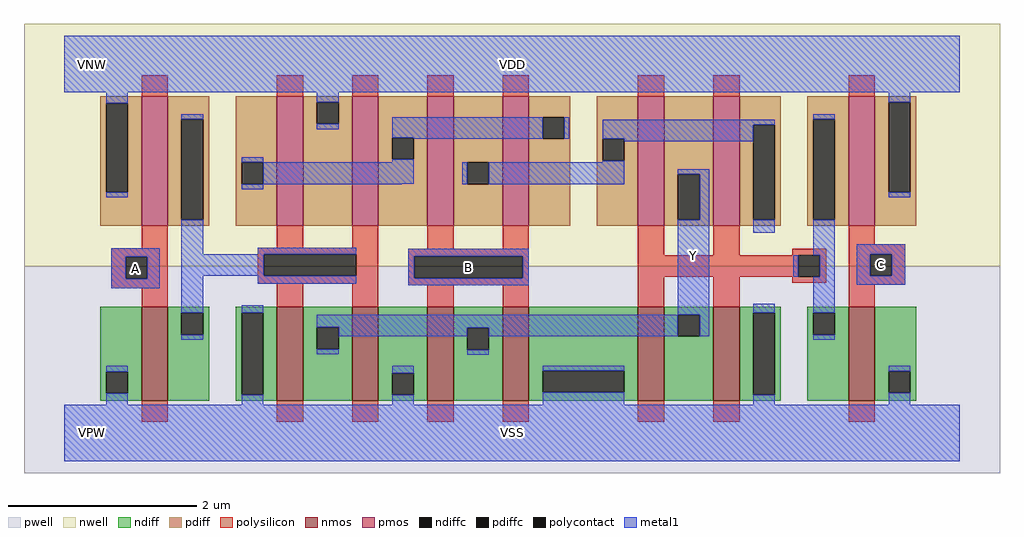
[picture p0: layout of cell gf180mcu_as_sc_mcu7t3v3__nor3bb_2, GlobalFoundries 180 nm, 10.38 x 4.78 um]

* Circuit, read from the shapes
.subckt gf180mcu_as_sc_mcu7t3v3__nor3bb_2 VDD VNW VPW VSS A B C Y
XM1 n1 A VSS VPW nfet_03v3 w=1u l=0.28u
XM2 Y n1 VSS VPW nfet_03v3 w=1u l=0.28u m=2
XM3 Y B VSS VPW nfet_03v3 w=1u l=0.28u m=2
XM4 Y n2 VSS VPW nfet_03v3 w=1u l=0.28u m=2
XM5 VSS C n2 VPW nfet_03v3 w=1u l=0.28u
XM6 n1 A VDD VNW pfet_03v3 w=1.38u l=0.28u
XM7 VDD n1 n3 VNW pfet_03v3 w=1.38u l=0.28u m=2
XM8 n4 B n3 VNW pfet_03v3 w=1.38u l=0.28u m=2
XM9 Y n2 n4 VNW pfet_03v3 w=1.38u l=0.28u m=2
XM10 VDD C n2 VNW pfet_03v3 w=1.38u l=0.28u
.ends

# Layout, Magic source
magic
tech gf180mcuD
magscale 1 10
<< nwell >>
rect -86 354 1990 870
<< pwell >>
rect -86 -86 1990 354
<< nmos >>
rect 164 68 220 268
rect 452 68 508 268
rect 612 68 668 268
rect 772 68 828 268
rect 932 68 988 268
rect 1220 68 1276 268
rect 1380 68 1436 268
rect 1668 68 1724 268
<< pmos >>
rect 164 440 220 716
rect 452 440 508 716
rect 612 440 668 716
rect 772 440 828 716
rect 932 440 988 716
rect 1220 440 1276 716
rect 1380 440 1436 716
rect 1668 440 1724 716
<< ndiff >>
rect 76 130 164 268
rect 76 84 89 130
rect 135 84 164 130
rect 76 68 164 84
rect 220 255 308 268
rect 220 209 249 255
rect 295 209 308 255
rect 220 68 308 209
rect 364 255 452 268
rect 364 81 377 255
rect 423 81 452 255
rect 364 68 452 81
rect 508 224 612 268
rect 508 178 537 224
rect 583 178 612 224
rect 508 68 612 178
rect 668 127 772 268
rect 668 81 697 127
rect 743 81 772 127
rect 668 68 772 81
rect 828 223 932 268
rect 828 177 857 223
rect 903 177 932 223
rect 828 68 932 177
rect 988 132 1220 268
rect 988 86 1017 132
rect 1191 86 1220 132
rect 988 68 1220 86
rect 1276 251 1380 268
rect 1276 205 1305 251
rect 1351 205 1380 251
rect 1276 68 1380 205
rect 1436 255 1524 268
rect 1436 81 1465 255
rect 1511 81 1524 255
rect 1436 68 1524 81
rect 1580 255 1668 268
rect 1580 209 1593 255
rect 1639 209 1668 255
rect 1580 68 1668 209
rect 1724 131 1812 268
rect 1724 85 1753 131
rect 1799 85 1812 131
rect 1724 68 1812 85
<< pdiff >>
rect 76 701 164 716
rect 76 512 89 701
rect 135 512 164 701
rect 76 440 164 512
rect 220 667 308 716
rect 220 453 249 667
rect 295 453 308 667
rect 220 440 308 453
rect 364 575 452 716
rect 364 529 377 575
rect 423 529 452 575
rect 364 440 452 529
rect 508 703 612 716
rect 508 657 537 703
rect 583 657 612 703
rect 508 440 612 657
rect 668 628 772 716
rect 668 582 697 628
rect 743 582 772 628
rect 668 440 772 582
rect 828 575 932 716
rect 828 529 857 575
rect 903 529 932 575
rect 828 440 932 529
rect 988 671 1076 716
rect 988 625 1017 671
rect 1063 625 1076 671
rect 988 440 1076 625
rect 1132 625 1220 716
rect 1132 579 1145 625
rect 1191 579 1220 625
rect 1132 440 1220 579
rect 1276 550 1380 716
rect 1276 453 1305 550
rect 1351 453 1380 550
rect 1276 440 1380 453
rect 1436 655 1524 716
rect 1436 453 1465 655
rect 1511 453 1524 655
rect 1436 440 1524 453
rect 1580 667 1668 716
rect 1580 453 1593 667
rect 1639 453 1668 667
rect 1580 440 1668 453
rect 1724 703 1812 716
rect 1724 512 1753 703
rect 1799 512 1812 703
rect 1724 440 1812 512
<< ndiffc >>
rect 89 84 135 130
rect 249 209 295 255
rect 377 81 423 255
rect 537 178 583 224
rect 697 81 743 127
rect 857 177 903 223
rect 1017 86 1191 132
rect 1305 205 1351 251
rect 1465 81 1511 255
rect 1593 209 1639 255
rect 1753 85 1799 131
<< pdiffc >>
rect 89 512 135 701
rect 249 453 295 667
rect 377 529 423 575
rect 537 657 583 703
rect 697 582 743 628
rect 857 529 903 575
rect 1017 625 1063 671
rect 1145 579 1191 625
rect 1305 453 1351 550
rect 1465 453 1511 655
rect 1593 453 1639 667
rect 1753 512 1799 703
<< polysilicon >>
rect 164 716 220 760
rect 452 716 508 760
rect 612 716 668 760
rect 772 716 828 760
rect 932 716 988 760
rect 1220 716 1276 760
rect 1380 716 1436 760
rect 1668 716 1724 760
rect 164 393 220 440
rect 452 394 508 440
rect 612 394 668 440
rect 100 374 220 393
rect 100 328 130 374
rect 176 328 220 374
rect 100 307 220 328
rect 411 380 668 394
rect 772 391 828 440
rect 932 391 988 440
rect 411 334 424 380
rect 621 334 668 380
rect 411 317 668 334
rect 164 268 220 307
rect 452 268 508 317
rect 612 268 668 317
rect 731 375 988 391
rect 731 329 744 375
rect 975 329 988 375
rect 731 314 988 329
rect 772 268 828 314
rect 932 268 988 314
rect 1220 378 1276 440
rect 1380 378 1436 440
rect 1668 401 1724 440
rect 1548 378 1620 391
rect 1220 332 1561 378
rect 1607 332 1620 378
rect 1220 268 1276 332
rect 1380 268 1436 332
rect 1548 319 1620 332
rect 1668 380 1788 401
rect 1668 334 1714 380
rect 1760 334 1788 380
rect 1668 315 1788 334
rect 1668 268 1724 315
rect 164 24 220 68
rect 452 24 508 68
rect 612 24 668 68
rect 772 24 828 68
rect 932 24 988 68
rect 1220 24 1276 68
rect 1380 24 1436 68
rect 1668 24 1724 68
<< polycontact >>
rect 130 328 176 374
rect 424 334 621 380
rect 744 329 975 375
rect 1561 332 1607 378
rect 1714 334 1760 380
<< metal1 >>
rect 0 724 1904 844
rect 89 701 135 724
rect 537 703 583 724
rect 89 501 135 512
rect 249 667 295 678
rect 1753 703 1799 724
rect 537 646 583 657
rect 697 628 1017 671
rect 377 575 423 586
rect 743 625 1017 628
rect 1063 625 1074 671
rect 1593 667 1639 678
rect 1145 655 1511 666
rect 1145 625 1465 655
rect 697 575 743 582
rect 1191 620 1465 625
rect 1145 575 1191 579
rect 423 530 743 575
rect 423 529 718 530
rect 846 529 857 575
rect 903 529 1191 575
rect 1305 550 1372 561
rect 377 518 423 529
rect 100 374 203 393
rect 100 328 130 374
rect 176 328 203 374
rect 100 307 203 328
rect 249 380 295 453
rect 1351 453 1372 550
rect 411 380 621 394
rect 249 334 424 380
rect 249 255 295 334
rect 411 317 621 334
rect 731 375 988 391
rect 731 329 744 375
rect 975 329 988 375
rect 731 314 988 329
rect 249 198 295 209
rect 377 255 423 271
rect 89 130 135 143
rect 89 60 135 84
rect 1305 251 1372 453
rect 1465 425 1511 453
rect 1753 501 1799 512
rect 1593 378 1639 453
rect 1550 332 1561 378
rect 1607 332 1639 378
rect 537 224 1305 251
rect 583 223 1305 224
rect 583 205 857 223
rect 537 167 583 178
rect 903 205 1305 223
rect 1351 205 1372 251
rect 1465 255 1511 274
rect 857 166 903 177
rect 377 60 423 81
rect 697 127 743 143
rect 697 60 743 81
rect 1017 132 1191 143
rect 1017 60 1191 86
rect 1593 255 1639 332
rect 1685 380 1788 401
rect 1685 334 1714 380
rect 1760 334 1788 380
rect 1685 315 1788 334
rect 1593 198 1639 209
rect 1465 60 1511 81
rect 1753 131 1799 143
rect 1753 60 1799 85
rect 0 -60 1904 60
<< labels >>
flabel metal1 s 0 724 1904 844 0 FreeSans 400 0 0 0 VDD
port 1 nsew power bidirectional abutment
flabel metal1 s 0 -60 1904 60 0 FreeSans 400 0 0 0 VSS
port 4 nsew ground bidirectional abutment
flabel nwell s 10 734 110 834 0 FreeSans 400 0 0 0 VNW
port 2 nsew power bidirectional
flabel pwell s 10 -50 110 50 0 FreeSans 400 0 0 0 VPW
port 3 nsew ground bidirectional
flabel metal1 s 731 314 988 391 0 FreeSans 200 0 0 0 B
port 6 nsew signal input
flabel metal1 s 1305 205 1372 550 0 FreeSans 200 0 0 0 Y
port 8 nsew signal output
flabel metal1 s 100 307 203 393 0 FreeSans 200 0 0 0 A
port 5 nsew signal input
flabel metal1 s 1685 315 1788 401 0 FreeSans 200 0 0 0 C
port 7 nsew signal output
<< properties >>
string FIXED_BBOX 0 0 1904 784
string LEFclass CORE
string LEFsite unithd
string LEFsymmetry X Y
string MASKHINTS_NPLUS -16 -46 1920 354
string MASKHINTS_PPLUS -16 354 1920 830
<< end >>
